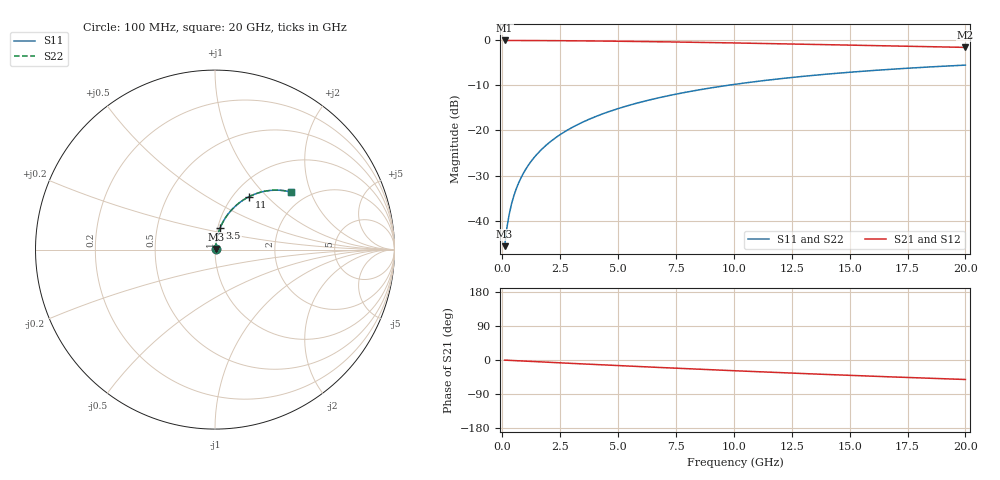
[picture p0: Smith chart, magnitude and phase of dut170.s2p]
! Touchstone file exported from HFSS 2026.1.0
!  File:  C:/ffzhzh/LocalFiles/Ansys_Project_Files/temp_train_BSMRDL_170_1782987002_41620.aedt
!  Generated:  06:11:29 PM Jul  2, 2026
!  Design:  BSMRDL
!  Project:  temp_train_BSMRDL_170_1782987002_41620
! Variables:
!  h_bsmrdl = 4.97um
!  h_ox = 20um
!  h_rdl = 5um
!  h_sub = 80um
!  h_tmrdl = 5um
!  h_tsv = 80um
!  h_via = 3um
!  l_bsmrdl = 729.1um
!  l_sub = 1129.1um
!  l_tmrdl = 200um
!  m_sub = 200um
!  pitch = 53.37um
!  r_tsv = 6um
!  s_tmrdl = 10um
!  w_bsmrdl = 14.81um
!  w_sub = 500um
!  w_tmrdl = 12um
!  x_tsv_center1 = 206um
!  x_tsv_center2 = 949.91um
!  x_tsv_center3 = 1161.91um
!  x_tsv_center4 = 1905.82um
!  x_tsv_center5 = 2117.82um
!  x_tsv_center6 = 2861.73um
# GHz S MA R 50.000000
! Terminal data exported
! Port[1] = BSM_RDL1_1_T1
! Port[2] = BSM_RDL1_1_T2
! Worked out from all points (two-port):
!   200 points, 100 MHz to 20 GHz, reference 50 ohm
!   highest |S21| = -0.03 dB at 100 MHz (marker M1); lowest = -1.6 dB at 20 GHz (marker M2)
!   |S21| within 3 dB of the highest: start of sweep to end of sweep
!   lowest |S11| = -45.7 dB at 100 MHz (marker M3), VSWR 1.01, Z = 50.4 + j0.38 ohm
!   |S11| at or under -10 dB: start of sweep to 9.72 GHz
!   |S22| runs from -45.7 to -5.5 dB; largest |S21 - S12| = 6.1e-15
!   S11 on the Smith chart (normalised r, x): 100 MHz: 1.01, +0.01; 3.5 GHz: 1.03, +0.25; 11 GHz: 1.18, +0.79; 20 GHz: 1.65, +1.47
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0.1  0.005206 46.4  0.9964 -0.3  0.9964 -0.3  0.005206 46.4
! Gamma 0 0 0 0
! Port Impedance 50 0 50 0
0.2  0.008372 63.4  0.9963 -0.6  0.9963 -0.6  0.008372 63.4
0.3  0.01182 70.4  0.9961 -0.9  0.9961 -0.9  0.01182 70.4
0.4  0.01534 74.1  0.996 -1.2  0.996 -1.2  0.01534 74.1
0.5  0.01887 76.3  0.9959 -1.5  0.9959 -1.5  0.01887 76.3
0.7  0.02599 78.8  0.9956 -2.1  0.9956 -2.1  0.02599 78.8
0.8  0.02956 79.5  0.9954 -2.4  0.9954 -2.4  0.02956 79.5
1  0.03671 80.3  0.9951 -3.0  0.9951 -3.0  0.03671 80.3
1.4  0.05102 80.7  0.9942 -4.2  0.9942 -4.2  0.05102 80.7
1.7  0.06172 80.5  0.9934 -5.1  0.9934 -5.1  0.06172 80.5
2  0.07237 80.1  0.9925 -6.0  0.9925 -6.0  0.07237 80.1
2.7  0.097 78.7  0.9898 -8.1  0.9898 -8.1  0.097 78.7
3.5  0.1246 76.7  0.9859 -10.4  0.9859 -10.4  0.1246 76.7
4.2  0.1483 74.9  0.982 -12.4  0.982 -12.4  0.1483 74.9
5  0.1748 72.8  0.9769 -14.7  0.9769 -14.7  0.1748 72.8
6.8  0.2317 68.0  0.9637 -19.7  0.9637 -19.7  0.2317 68.0
8.3  0.2764 64.1  0.951 -23.8  0.951 -23.8  0.2764 64.1
10.1  0.3265 59.5  0.9343 -28.5  0.9343 -28.5  0.3265 59.6
11  0.35 57.3  0.9255 -30.8  0.9255 -30.8  0.35 57.3
13.4  0.4078 51.6  0.9011 -36.7  0.9011 -36.7  0.4078 51.6
16.7  0.4757 44.1  0.8672 -44.4  0.8672 -44.4  0.4757 44.2
20  0.5308 37.2  0.8348 -51.4  0.8348 -51.4  0.5308 37.2
